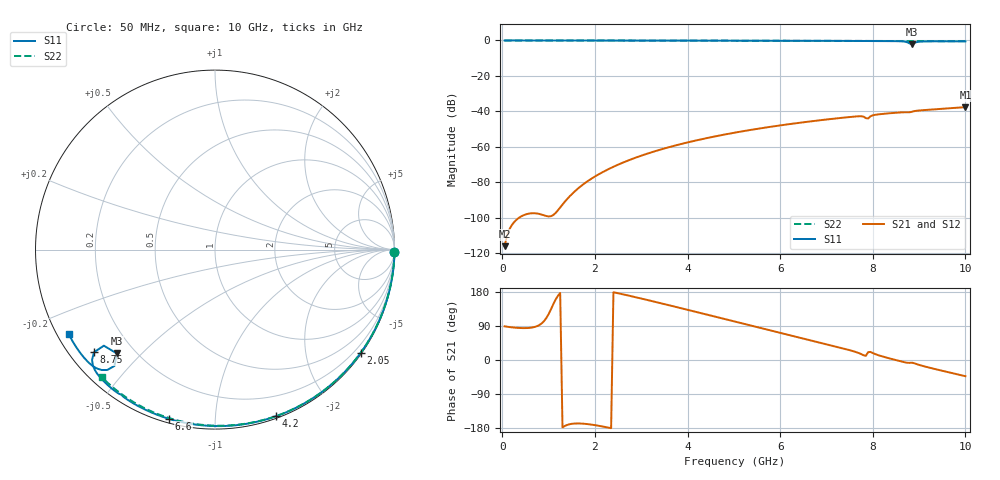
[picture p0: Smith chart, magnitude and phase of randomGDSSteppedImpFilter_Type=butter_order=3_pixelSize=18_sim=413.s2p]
! freq	dB(S11)	phase(S11)	dB(S12)	phase(S12)
!  dB(S21)	phase(S21)	dB(S22)	phase(S22)
!S-par simulation data
#  GHz  S  DB  R 50
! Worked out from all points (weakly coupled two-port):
!   200 points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, 50 MHz to 10 GHz, reference 50 ohm
!   highest |S21| = -37.68 dB at 10 GHz (marker M1); lowest = -116.2 dB at 50 MHz (marker M2)
!   lowest |S11| = -2.0 dB at 8.85 GHz (marker M3), VSWR 8.83, Z = 6.7 - j21.2 ohm
!   |S11| at or under -10 dB: nowhere
!   |S22| runs from -0.4 to 0.0 dB; largest |S21 - S12| = 0
!   S11 on the Smith chart (normalised r, x): 50 MHz: open; 2.05 GHz: 0.03, -3.14; 4.2 GHz: 0.02, -1.43; 6.6 GHz: 0.02, -0.77; 8.75 GHz: 0.07, -0.37; 10 GHz: 0.03, -0.27
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0.05  -0.00 -0.9  -116.19 88.9  -116.19 88.9  -0.00 -0.8
1.75  -0.04 -30.2  -81.23 -168.1  -81.23 -168.1  -0.03 -26.3
1.85  -0.04 -31.9  -79.37 -169.3  -79.37 -169.3  -0.04 -27.7
2.05  -0.04 -35.3  -76.08 -172.9  -76.08 -172.9  -0.04 -30.7
2.65  -0.06 -45.2  -68.51 172.1  -68.51 172.1  -0.05 -39.4
3.4  -0.08 -57.4  -61.75 150.5  -61.75 150.5  -0.07 -50.0
4.2  -0.10 -69.9  -56.38 126.4  -56.38 126.4  -0.09 -61.0
5.05  -0.13 -82.8  -51.93 100.6  -51.93 100.6  -0.11 -72.4
6.6  -0.20 -105.1  -45.89 53.8  -45.89 53.8  -0.18 -92.0
6.7  -0.21 -106.5  -45.57 50.8  -45.57 50.8  -0.18 -93.2
7.7  -0.29 -120.6  -42.82 18.3  -42.82 18.3  -0.24 -105.2
7.9  -0.33 -123.2  -44.07 20.6  -44.07 20.6  -0.25 -107.5
8  -0.30 -124.7  -42.28 18.3  -42.28 18.3  -0.26 -108.7
8.35  -0.35 -130.2  -41.15 4.6  -41.15 4.6  -0.29 -112.8
8.6  -0.48 -135.1  -40.65 -3.4  -40.65 -3.4  -0.31 -115.7
8.75  -1.07 -139.7  -40.55 -7.4  -40.55 -7.4  -0.32 -117.4
8.8  -1.74 -139.2  -40.54 -7.5  -40.54 -7.5  -0.32 -118.0
8.85  -1.98 -133.4  -40.26 -7.2  -40.26 -7.2  -0.33 -118.6
8.9  -1.35 -130.8  -39.90 -8.8  -39.90 -8.8  -0.33 -119.1
9  -0.71 -133.3  -39.56 -12.9  -39.56 -12.9  -0.34 -120.3
9.3  -0.49 -139.5  -38.96 -22.6  -38.96 -22.6  -0.37 -123.7
10  -0.52 -150.0  -37.68 -42.8  -37.68 -42.8  -0.44 -131.6
